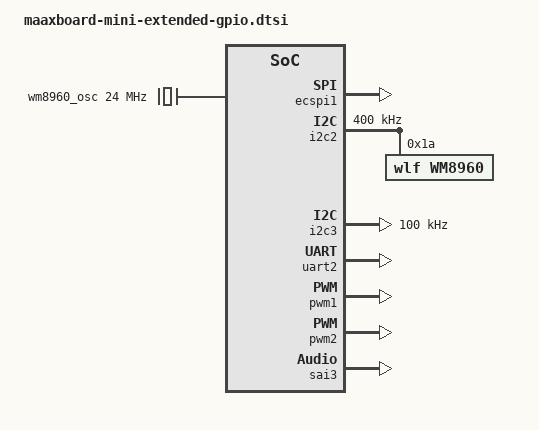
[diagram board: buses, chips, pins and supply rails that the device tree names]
/*
 * Copyright 2019 EMBEST
 *
 * This program is free software; you can redistribute it and/or
 * modify it under the terms of the GNU General Public License
 * as published by the Free Software Foundation; either version 2
 * of the License, or (at your option) any later version.
 *
 * This program is distributed in the hope that it will be useful,
 * but WITHOUT ANY WARRANTY; without even the implied warranty of
 * MERCHANTABILITY or FITNESS FOR A PARTICULAR PURPOSE.  See the
 * GNU General Public License for more details.
 */

/* 40-pin extended GPIO, expanded into SPI, I2C, PWM and other interfaces */

&iomuxc {
	pinctrl-names = "default";
	pinctrl-0 = <&pinctrl_hog>;

	imx8mq-evk {
		pinctrl_hog: hoggrp {
			fsl,pins = <
				/*Default GPIOs*/
				MX8MM_IOMUXC_GPIO1_IO14_GPIO1_IO14		0x16	/* PIN 7,  GPIO 4  */
				MX8MM_IOMUXC_NAND_WE_B_GPIO3_IO17		0x16	/* PIN 11, GPIO 17 */
				MX8MM_IOMUXC_NAND_CE3_B_GPIO3_IO4		0x16	/* PIN 13, GPIO 27 */
				MX8MM_IOMUXC_NAND_WP_B_GPIO3_IO18		0x16	/* PIN 15, GPIO 22 */
				MX8MM_IOMUXC_UART4_RXD_GPIO5_IO28		0x16	/* PIN 22, GPIO 25 */
				MX8MM_IOMUXC_NAND_READY_B_GPIO3_IO16	0x16	/* PIN 36, GPIO 16 */
				MX8MM_IOMUXC_GPIO1_IO10_GPIO1_IO10		0x16	/* PIN 37, GPIO 26 */
				MX8MM_IOMUXC_GPIO1_IO01_GPIO1_IO1		0x16	/* PIN 26, GPIO 8  */
				MX8MM_IOMUXC_GPIO1_IO15_GPIO1_IO15		0x16	/* PIN 29, GPIO 5  */
				MX8MM_IOMUXC_SAI2_MCLK_GPIO4_IO27		0x16	/* PIN 31, GPIO 6  */
			>;
		};

		pinctrl_ecspi1: ecspi1grp {
			fsl,pins = <
				MX8MM_IOMUXC_ECSPI1_SCLK_ECSPI1_SCLK		0x82
				MX8MM_IOMUXC_ECSPI1_MOSI_ECSPI1_MOSI		0x82
				MX8MM_IOMUXC_ECSPI1_MISO_ECSPI1_MISO		0x82
			>;
		};

		pinctrl_ecspi1_cs: ecspi1cs {
			fsl,pins = <
				MX8MM_IOMUXC_ECSPI1_SS0_GPIO5_IO9		0x40000
			>;
		};

		pinctrl_i2c2: i2c2grp {
			fsl,pins = <
				MX8MM_IOMUXC_I2C2_SCL_I2C2_SCL			0x400001c3
				MX8MM_IOMUXC_I2C2_SDA_I2C2_SDA			0x400001c3
			>;
		};

		pinctrl_i2c3: i2c3grp {
			fsl,pins = <
				MX8MM_IOMUXC_I2C3_SCL_I2C3_SCL			0x400001c3
				MX8MM_IOMUXC_I2C3_SDA_I2C3_SDA			0x400001c3
			>;
		};

		pinctrl_uart2: uart2grp {
			fsl,pins = <
				MX8MM_IOMUXC_UART2_RXD_UART2_DCE_RX		0x140
				MX8MM_IOMUXC_UART2_TXD_UART2_DCE_TX		0x140
			>;
		};

		pinctrl_pwm1: pwm1_grp {
			fsl,pins = <
				MX8MM_IOMUXC_SPDIF_EXT_CLK_PWM1_OUT		0x06
			>;
		};

		pinctrl_pwm2: pwm2_grp {
			fsl,pins = <
				MX8MM_IOMUXC_SPDIF_RX_PWM2_OUT		0x06
			>;
		};

        pinctrl_sai3: sai3grp {
			fsl,pins = <
				MX8MM_IOMUXC_SAI3_TXFS_SAI3_TX_SYNC     0xd6
				MX8MM_IOMUXC_SAI3_TXC_SAI3_TX_BCLK      0xd6
				MX8MM_IOMUXC_SAI3_TXD_SAI3_TX_DATA0     0xd6
				MX8MM_IOMUXC_SAI3_RXD_SAI3_RX_DATA0     0xd6
			>;
		};
	};
};

&ecspi1{
	#address-cells = <1>;
	#size-cells = <0>;
	fsl,spi-num-chipselects = < 1 >;
	pinctrl-names = "default";
	pinctrl-0 = <&pinctrl_ecspi1 &pinctrl_ecspi1_cs>;
	cs-gpios = <&gpio5 9 0 > ;
	status = "okay";
};

&i2c2 {
	clock-frequency = <400000>;
	pinctrl-names = "default";
	pinctrl-0 = <&pinctrl_i2c2>;
	status = "okay";

    wm8960: wm8960@1a {
        #sound-dai-cells = <0>;
		compatible = "wlf,wm8960";
		reg = <0x1a>;
		clocks = <&wm8960_osc>;
		clock-names = "mclk";
		wlf,shared-lrclk;
	};
};

&i2c3 {
	clock-frequency = <100000>;
	pinctrl-names = "default";
	pinctrl-0 = <&pinctrl_i2c3>;
	status = "okay";
};

&uart2 {
	pinctrl-names = "default";
	pinctrl-0 = <&pinctrl_uart2>;
	status = "okay";
};

&pwm1 {
        pinctrl-names = "default";
        pinctrl-0 = <&pinctrl_pwm1>;
        status = "okay";
};

&pwm2 {
        pinctrl-names = "default";
        pinctrl-0 = <&pinctrl_pwm2>;
        status = "okay";
};

/ {
    sound-wm8960 {
		compatible = "simple-audio-card";
		simple-audio-card,name = "wm8960-sound-audio";
		simple-audio-card,bitclock-master = <&dailink_master>;
		simple-audio-card,frame-master = <&dailink_master>;
		simple-audio-card,format = "i2s";
		status = "okay";
		simple-audio-card,widgets =
                "Microphone", "Mic Jack",
                "Line", "Line In",
                "Line", "Line Out",
                "Speaker", "Speaker",
                "Headphone", "Headphone Jack";
		simple-audio-card,routing =
                "Headphone Jack", "HP_L",
                "Headphone Jack", "HP_R",
                "Speaker", "SPK_LP",
                "Speaker", "SPK_LN",
                "Speaker", "SPK_RP",
                "Speaker", "SPK_RN",
                "LINPUT1", "Mic Jack",
                "LINPUT3", "Mic Jack",
                "RINPUT1", "Mic Jack",
                "RINPUT2", "Mic Jack",
				"Mic Jack", "MICB";

		simple-audio-card,cpu {
			sound-dai = <&sai3>;
		};
		dailink_master: simple-audio-card,codec {
			sound-dai = <&wm8960>;
			clocks = <&wm8960_osc>;
		};
	};

    wm8960_osc: wm8960_mclk {
            compatible = "fixed-clock";
            #clock-cells = <0>;
            clock-frequency = <24000000>;
            clock-output-names = "wm8960-mclk";
    };
};

&sai3 {
	pinctrl-names = "default";
    #sound-dai-cells = <0>;
	pinctrl-0 = <&pinctrl_sai3>;
	assigned-clocks = <&clk IMX8MM_CLK_SAI3>,
			<&clk IMX8MM_CLK_SAI3>;
	assigned-clock-parents = <&clk IMX8MM_AUDIO_PLL1_OUT>;
	assigned-clock-rates = <0>, <24576000>;
	status = "okay";
};
